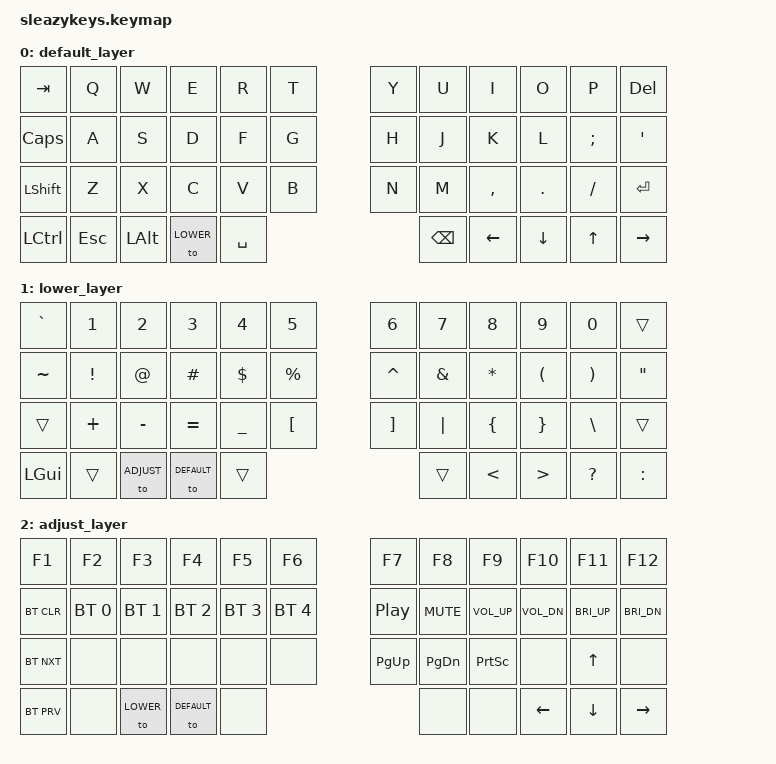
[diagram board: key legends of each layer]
/*
 * Copyright (c) 2020 The ZMK Contributors
 *
 * SPDX-License-Identifier: MIT
 */

 #include <behaviors.dtsi>
 #include <dt-bindings/zmk/keys.h>
 #include <dt-bindings/zmk/bt.h>

 #define DEFAULT 0
 #define LOWER  1
 #define ADJUST 2

/ {
       keymap {
              compatible = "zmk,keymap";

              default_layer {
 // ---------------------------------------------------------------------------------------------------------------------------------
 // |  TAB   |   Q    |   W    |   E    |   R    |   T    |                    |   Y    |   U    |   I    |   O    |   P    |  DEL   |
 // |  CAPS  |   A    |   S    |   D    |   F    |   G    |                    |   H    |   J    |   K    |   L    |   ;    |   '    |
 // |  SHIFT |   Z    |   X    |   C    |   V    |   B    |                    |   N    |   M    |   ,    |   .    |   /    |  RET   |
 // |  CTRL  |  ESC   |  ALT   | LOWER  | SPACE  |                                      |  BSPC  |  LEFT  |  DOWN  |  UP    |  RIGHT |
                     bindings = <
       &kp TAB    &kp Q   &kp W    &kp E    &kp R     &kp T                    &kp Y     &kp U     &kp I     &kp O      &kp P     &kp DEL
       &kp CAPS   &kp A   &kp S    &kp D    &kp F     &kp G                    &kp H     &kp J     &kp K     &kp L      &kp SEMI  &kp SQT
       &kp LSHFT  &kp Z   &kp X    &kp C    &kp V     &kp B                    &kp N     &kp M     &kp COMMA &kp PERIOD &kp SLASH &kp RET
       &kp LCTRL  &kp ESC &kp LALT &to LOWER &kp SPACE                                    &kp BSPC &kp LEFT  &kp DOWN   &kp UP    &kp RIGHT
                     >;
              };
              lower_layer {
 // ---------------------------------------------------------------------------------------------------------------------------------
 // |  GRAVE |  1     |  2     |  3     |  4     |  5     |                    |  6     |  7     |  8     |  9     |  0     |        |
 // |    ~   |  !     |  @     |  #     |  $     |  %     |                    |  ^     |  &     |  *     |  (     |  )     | "      |
 // |        |  +     |  -     |  =     |    _   |    [   |                    |  ]     |  |     |   {    | }      |  \     |        |
 // |  LGUI  |        | ADJUST |DEFAULT |        |                                      |        |   <    |   >    |  ?     |  :     |
                     bindings = <
       &kp GRAVE  &kp N1     &kp N2    &kp N3     &kp N4     &kp N5            &kp N6    &kp N7   &kp N8    &kp N9   &kp N0    &trans
       &kp TILDE  &kp EXCL   &kp AT    &kp HASH   &kp DLLR   &kp PRCNT         &kp CARET &kp AMPS &kp ASTRK &kp LPAR &kp RPAR  &kp DQT
       &trans     &kp PLUS   &kp MINUS &kp EQUAL  &kp UNDER  &kp LBKT          &kp RBKT  &kp PIPE    &kp LBRC  &kp RBRC &kp BSLH  &trans
       &kp LGUI   &trans    &to ADJUST &to DEFAULT &trans                                &trans   &kp LT    &kp GT   &kp QMARK &kp COLON
                     >;
              };
              adjust_layer {
 // ---------------------------------------------------------------------------------------------------------------------------------
 // |   F1   |   F2   |   F3   |   F4   |   F5   |   F6   |                    |   F7   |  F8    |  F9    | F10    |  F11   |  F12   |
 // | BT_CLR | BT_0   | BT_1   | BT_2   | BT_3   | BT_4   |                    | PLAY   | MUTE   | VOL+   | VOL-   | BRI_UP | BRI_DN |
 // | BT_NXT |        |        |        |        |        |                    | PG_UP  | PG_DN  | PSCRN  |        |  UP    |        |
 // | BT_PRV |        | LOWER  | DEFAULT|        |                                      |        |        | LEFT   |  DOWN  |  RIGHT |
                     bindings = <
       &kp F1      &kp F2       &kp F3       &kp F4       &kp F5        &kp F6          &kp F7    &kp F8     &kp F9       &kp F10      &kp F11      &kp F12
       &bt BT_CLR  &bt BT_SEL 0 &bt BT_SEL 1 &bt BT_SEL 2 &bt BT_SEL 3  &bt BT_SEL 4    &kp C_PP  &kp C_MUTE &kp C_VOL_UP &kp C_VOL_DN &kp C_BRI_UP &kp C_BRI_DN
       &bt BT_NXT  &none        &none        &none        &none         &none           &kp PG_UP &kp PG_DN  &kp PSCRN    &none        &kp UP       &none
       &bt BT_PRV  &none        &to LOWER    &to DEFAULT  &none                                   &none      &none        &kp LEFT     &kp DOWN     &kp RIGHT
                     >;
              };
       };
};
